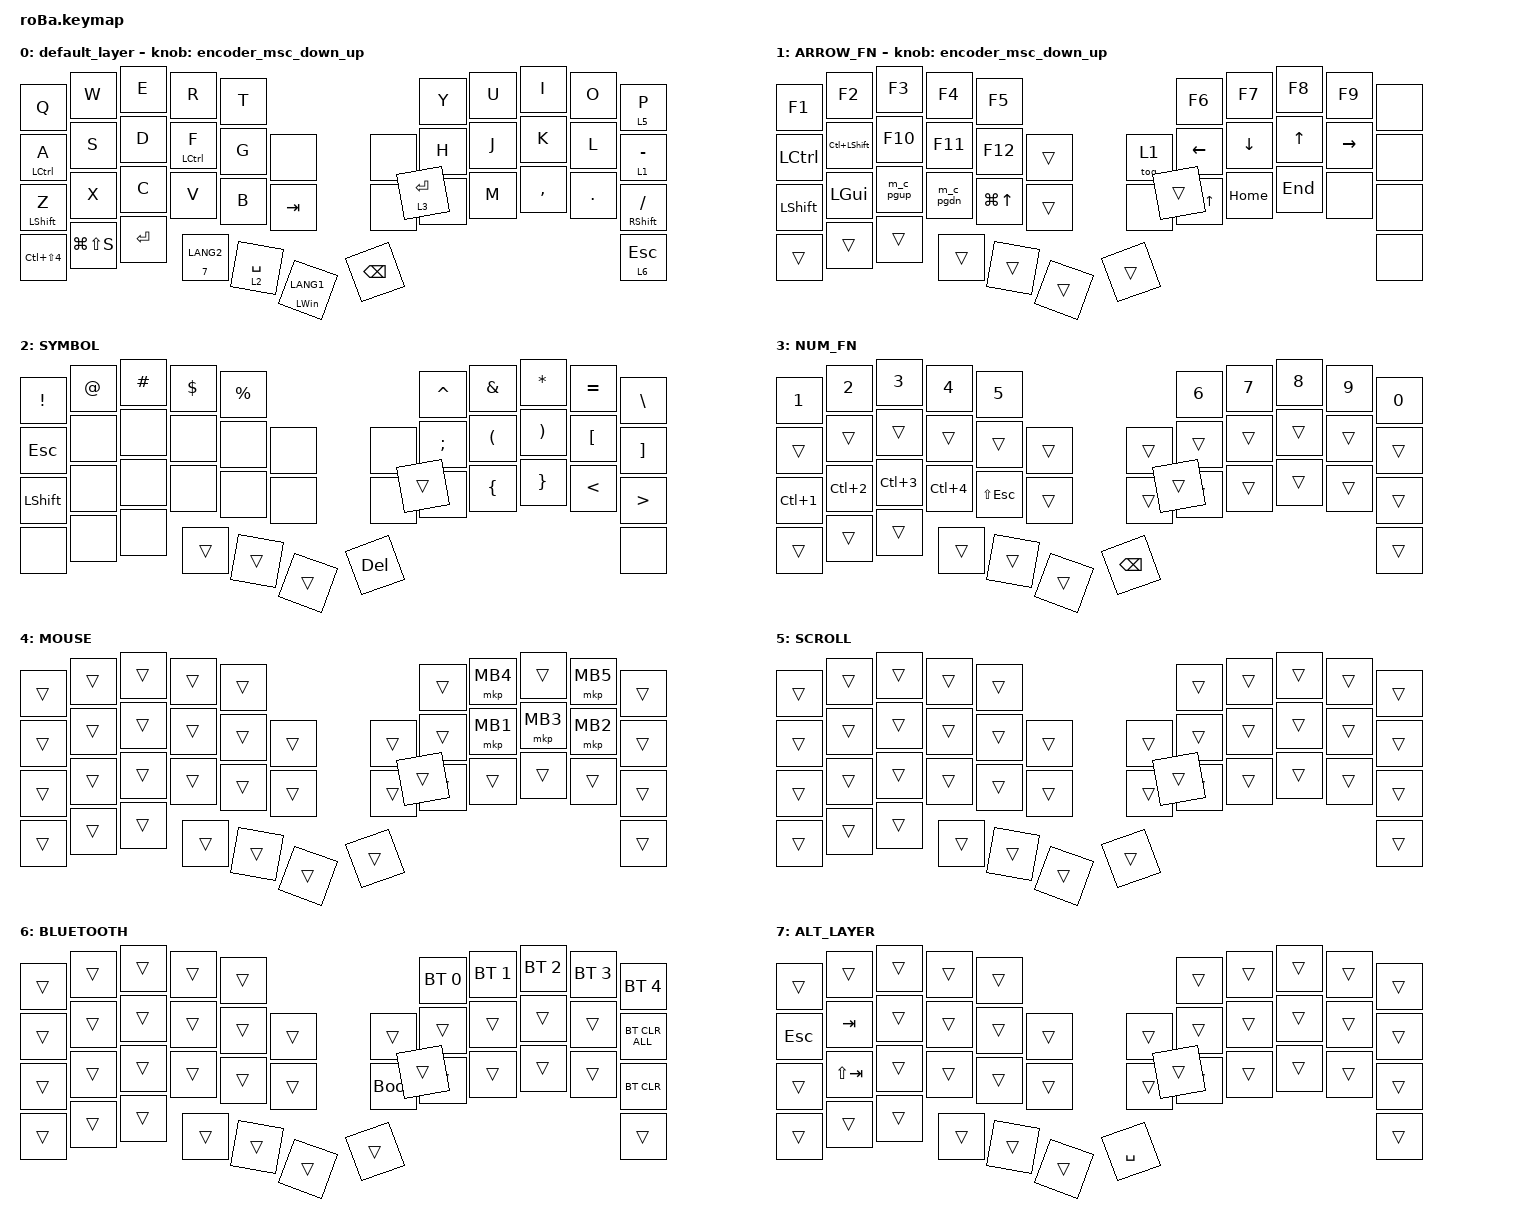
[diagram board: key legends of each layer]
/*
 * roBa キーマップ設定
 * - レイヤー定義
 * - コンボ
 * - マクロ
 */

#define ZMK_POINTING_DEFAULT_SCRL_VAL 80

#include <behaviors.dtsi>
#include <dt-bindings/zmk/bt.h>
#include <dt-bindings/zmk/keys.h>
#include <dt-bindings/zmk/pointing.h>

&mt {
    flavor = "balanced";
    quick-tap-ms = <0>;
    tapping-term-ms = <180>;
};

&trackball { scroll-layers = <5>; };

&caps_word { continue-list = <UNDERSCORE MINUS BACKSPACE DELETE SPACE>; };

/ {
    combos {
        compatible = "zmk,combos";

        tab {
            bindings = <&kp TAB>;
            key-positions = <12 13>;
        };

        eq {
            bindings = <&kp EQUAL>;
            key-positions = <18 19>;
        };

        tilde {
            bindings = <&kp GRAVE>;
            key-positions = <6 7>;
        };

        bq {
            bindings = <&kp BACKSLASH>;
            key-positions = <30 31>;
        };

        layout_shift_on {
            bindings = <&tog_ls_on>;
            key-positions = <9 21>;
        };

        layout_shift_off {
            bindings = <&tog_ls_off>;
            key-positions = <21 33>;
        };
    };

    macros {
        m_c_pgup: m_c_pgup {
            compatible = "zmk,behavior-macro";
            #binding-cells = <0>;
            wait-ms = <0>;
            tap-ms = <0>;
            bindings =
                <&macro_press>,
                <&kp LCTRL>,
                <&macro_tap>,
                <&kp PAGE_UP>,
                <&macro_release>,
                <&kp LCTRL>;
        };

        m_c_pgdn: m_c_pgdn {
            compatible = "zmk,behavior-macro";
            #binding-cells = <0>;
            wait-ms = <0>;
            tap-ms = <0>;
            bindings =
                <&macro_press>,
                <&kp LCTRL>,
                <&macro_tap>,
                <&kp PAGE_DOWN>,
                <&macro_release>,
                <&kp LCTRL>;
        };

        // Layer-mod: holds LALT + activates specified layer

        lm: lm {
            compatible = "zmk,behavior-macro-one-param";
            #binding-cells = <1>;
            wait-ms = <0>;
            tap-ms = <0>;
            bindings =
                <&macro_press>,
                <&kp LALT &macro_param_1to1>,
                <&macro_press>,
                <&mo MACRO_PLACEHOLDER>,
                <&macro_pause_for_release>,
                <&macro_param_1to1>,
                <&macro_release>,
                <&mo MACRO_PLACEHOLDER>,
                <&macro_release>,
                <&kp LALT>;
        };
    };

    behaviors {
        // Keep the original key_press behavior for ZMK core components

        original_key_press: original_key_press {
            compatible = "zmk,behavior-key-press";
            #binding-cells = <1>;
            label = "KEY_PRESS";
        };

        // Override &kp for layout shift (Keymap Editor compatible)

        kp: key_press {
            compatible = "zmk,behavior-layout-shift-key-press";
            #binding-cells = <1>;
            label = "LAYOUT_SHIFT_KEY_PRESS";
        };

        tog_ls_on: toggle_layout_shift_on {
            compatible = "zmk,behavior-layout-shift-toggle";
            #binding-cells = <0>;
            toggle-mode = "on";
            label = "LAYOUT_SHIFT_TOGGLE_ON";
        };

        tog_ls_off: toggle_layout_shift_off {
            compatible = "zmk,behavior-layout-shift-toggle";
            #binding-cells = <0>;
            toggle-mode = "off";
            label = "LAYOUT_SHIFT_TOGGLE_OFF";
        };

        encoder_msc_down_up: encoder_msc_down_up {
            compatible = "zmk,behavior-sensor-rotate";
            label = "ENCODER_MSC_DOWN_UP";
            #sensor-binding-cells = <0>;
            bindings = <&msc SCRL_UP>, <&msc SCRL_DOWN>;

            tap-ms = <20>;
        };

        // Hold: ALT + layer, Tap: key

        alt_lt: alt_lt {
            compatible = "zmk,behavior-hold-tap";
            label = "ALT_LAYER_TAP";
            #binding-cells = <2>;
            tapping-term-ms = <180>;
            flavor = "balanced";
            bindings = <&lm>, <&kp>;
        };

        // Layer-tap with quick-tap: tap then hold to auto-repeat the key

        lt_rep: lt_rep {
            compatible = "zmk,behavior-hold-tap";
            label = "LAYER_TAP_REPEAT";
            #binding-cells = <2>;
            tapping-term-ms = <200>;
            quick-tap-ms = <150>;
            flavor = "tap-preferred";
            bindings = <&mo>, <&kp>;
        };
    };

    keymap {
        compatible = "zmk,keymap";

        default_layer {
            bindings = <
&kp Q             &kp W          &kp E      &kp R               &kp T                                                   &kp Y            &kp U  &kp I      &kp O    &lt 5 P
&mt LCTRL A       &kp S          &kp D      &mt LEFT_CONTROL F  &kp G            &none                   &none          &kp H            &kp J  &kp K      &kp L    &lt 1 MINUS
&mt LEFT_SHIFT Z  &kp X          &kp C      &kp V               &kp B            &kp TAB                 &none          &kp N            &kp M  &kp COMMA  &kp DOT  &mt RIGHT_SHIFT SLASH
&kp LC(LS(N4))    &kp LG(LS(S))  &kp ENTER  &alt_lt 7 LANG2     &lt_rep 2 SPACE  &mt LEFT_WIN LANG1      &kp BACKSPACE  &lt_rep 3 ENTER                             &lt 6 ESC
            >;

            sensor-bindings = <&encoder_msc_down_up>;
        };

        ARROW_FN {
            bindings = <
&kp F1            &kp F2              &kp F3     &kp F4     &kp F5                                &kp F6            &kp F7          &kp F8        &kp F9           &none
&kp LEFT_CONTROL  &kp LC(LEFT_SHIFT)  &kp F10    &kp F11    &kp F12           &trans      &tog 1  &kp LEFT_ARROW    &kp DOWN_ARROW  &kp UP_ARROW  &kp RIGHT_ARROW  &none
&kp LEFT_SHIFT    &kp LEFT_GUI        &m_c_pgup  &m_c_pgdn  &kp LG(UP_ARROW)  &trans      &none   &kp RG(UP_ARROW)  &kp HOME        &kp END       &none            &none
&trans            &trans              &trans     &trans     &trans            &trans      &trans  &trans                                                           &none
            >;

            sensor-bindings = <&encoder_msc_down_up>;
        };

        SYMBOL {
            bindings = <
&kp EXCLAMATION  &kp AT_SIGN  &kp HASH  &kp DOLLAR  &kp PERCENT                   &kp CARET         &kp AMPERSAND         &kp ASTERISK           &kp EQUAL         &kp BACKSLASH
&kp ESC          &none        &none     &none       &none        &none   &none    &kp SEMICOLON     &kp LEFT_PARENTHESIS  &kp RIGHT_PARENTHESIS  &kp LEFT_BRACKET  &kp RIGHT_BRACKET
&kp LEFT_SHIFT   &none        &none     &none       &none        &none   &none    &kp SINGLE_QUOTE  &kp LEFT_BRACE        &kp RIGHT_BRACE        &kp LESS_THAN     &kp GREATER_THAN
&none            &none        &none     &trans      &trans       &trans  &kp DEL  &trans                                                                           &none
            >;
        };

        NUM_FN {
            bindings = <
&kp N1            &kp N2            &kp N3            &kp N4            &kp N5                                     &kp N6  &kp N7  &kp N8  &kp N9  &kp N0
&trans            &trans            &trans            &trans            &trans          &trans      &trans         &trans  &trans  &trans  &trans  &trans
&kp LC(NUMBER_1)  &kp LC(NUMBER_2)  &kp LC(NUMBER_3)  &kp LC(NUMBER_4)  &kp LS(ESCAPE)  &trans      &trans         &trans  &trans  &trans  &trans  &trans
&trans            &trans            &trans            &trans            &trans          &trans      &kp BACKSPACE  &trans                          &trans
            >;
        };

        MOUSE {
            bindings = <
&trans  &trans  &trans  &trans  &trans                      &trans  &mkp MB4  &trans    &mkp MB5  &trans
&trans  &trans  &trans  &trans  &trans  &trans      &trans  &trans  &mkp MB1  &mkp MB3  &mkp MB2  &trans
&trans  &trans  &trans  &trans  &trans  &trans      &trans  &trans  &trans    &trans    &trans    &trans
&trans  &trans  &trans  &trans  &trans  &trans      &trans  &trans                                &trans
            >;
        };

        SCROLL {
            bindings = <
&trans  &trans  &trans  &trans  &trans                      &trans  &trans  &trans  &trans  &trans
&trans  &trans  &trans  &trans  &trans  &trans      &trans  &trans  &trans  &trans  &trans  &trans
&trans  &trans  &trans  &trans  &trans  &trans      &trans  &trans  &trans  &trans  &trans  &trans
&trans  &trans  &trans  &trans  &trans  &trans      &trans  &trans                          &trans
            >;
        };

        BLUETOOTH {
            bindings = <
&trans  &trans  &trans  &trans  &trans                           &bt BT_SEL 0  &bt BT_SEL 1  &bt BT_SEL 2  &bt BT_SEL 3  &bt BT_SEL 4
&trans  &trans  &trans  &trans  &trans  &trans      &trans       &trans        &trans        &trans        &trans        &bt BT_CLR_ALL
&trans  &trans  &trans  &trans  &trans  &trans      &bootloader  &trans        &trans        &trans        &trans        &bt BT_CLR
&trans  &trans  &trans  &trans  &trans  &trans      &trans       &trans                                                  &trans
            >;
        };

        ALT_LAYER {
            bindings = <
&trans       &trans       &trans  &trans  &trans                         &trans  &trans  &trans  &trans  &trans
&kp ESC      &kp TAB      &trans  &trans  &trans  &trans      &trans     &trans  &trans  &trans  &trans  &trans
&trans       &kp LS(TAB)  &trans  &trans  &trans  &trans      &trans     &trans  &trans  &trans  &trans  &trans
&trans       &trans       &trans  &trans  &trans  &trans      &kp SPACE  &trans                          &trans
            >;
        };
    };
};
